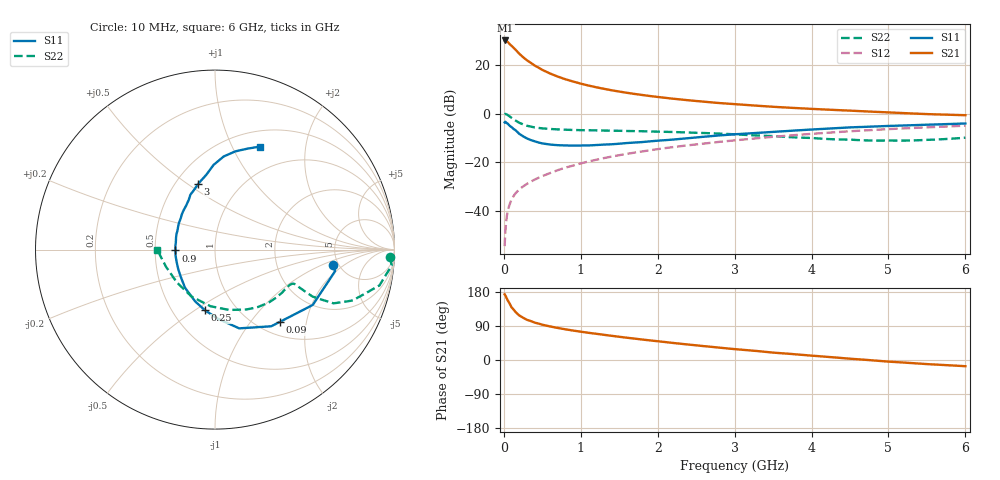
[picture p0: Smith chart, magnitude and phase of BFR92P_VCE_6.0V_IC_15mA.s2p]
! Infineon Technologies  Discrete & RF Semiconductors
! BFR92P
! VCE =  6.0 V,  IC =  15 mA
! Common Emitter S-Parameters:  Apr 2014
# GHz  S  MA  R  50
!  f  S11  S21  S12  S22
! GHz  MAG  ANG  MAG  ANG  MAG  ANG  MAG  ANG
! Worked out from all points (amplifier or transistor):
!   77 points, 10 MHz to 6 GHz, reference 50 ohm
!   highest |S21| = 30.0 dB at 20 MHz (marker M1)
!   |S21| within 3 dB of that: start of sweep to 126 MHz
!   unconditionally stable (mu >= 1): 590.7 MHz to 2.31 GHz
!   at 130 MHz: K = 0.47, MSG = 30.3 dB, |S12| = -33.7 dB
!   at 2.2 GHz: K = 1.01, MAG = 9.5 dB, |S12| = -13.7 dB
!   at 6 GHz: K = 0.86, MSG = 2.1 dB, |S12| = -4.9 dB
!   S11 on the Smith chart (normalised r, x): 10 MHz: 4.47, -1.33; 90 MHz: 1.24, -1.41; 250 MHz: 0.72, -0.55; 900 MHz: 0.64, -0.01; 3 GHz: 0.64, +0.55; 6 GHz: 0.68, +1.29
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0.01  0.66 -7.3  31.38 173.3  0.0019 88.1  0.9736 -2.5
0.02  0.6797 -10.2  31.76 170.2  0.0039 83.1  0.989 -5.1
0.05  0.6259 -29.5  29.75 157.4  0.01 77.0  0.9377 -12.3
0.09  0.5405 -48.3  25.49 143.2  0.0158 69.1  0.8416 -18.4
0.1  0.5299 -53.7  24.72 139.0  0.0173 68.0  0.8193 -20.2
0.15  0.4592 -72.9  20.66 127.0  0.0229 67.1  0.7248 -24.4
0.2  0.3849 -87.7  17.03 117.6  0.0279 65.7  0.6488 -25.2
0.25  0.3427 -99.4  14.42 111.6  0.0319 64.8  0.6023 -25.7
0.3  0.3094 -110.8  12.44 106.0  0.0361 65.5  0.5635 -25.1
0.4  0.2704 -128.2  9.717 98.7  0.0441 67.7  0.5204 -24.3
0.5  0.2442 -141.1  7.909 93.1  0.0522 69.1  0.4979 -23.7
0.6  0.2319 -152.1  6.668 88.6  0.0601 69.5  0.4839 -23.4
0.7  0.2248 -161.9  5.766 84.6  0.0689 70.2  0.4745 -23.5
0.9  0.2203 -178.7  4.56 77.7  0.0857 70.6  0.4616 -25.1
1.1  0.2219 169.4  3.77 71.8  0.1041 70.0  0.4556 -27.2
1.5  0.2411 148.7  2.836 61.3  0.1401 68.1  0.4442 -32.8
2.1  0.2854 126.3  2.108 47.3  0.196 63.5  0.4228 -43.0
3  0.3764 104.7  1.566 28.7  0.2823 55.0  0.3765 -62.4
3.1  0.3847 102.9  1.526 27.0  0.2923 53.7  0.3686 -65.1
4.1  0.4812 89.6  1.23 10.0  0.3941 42.3  0.3082 -98.7
5.1  0.5644 77.1  1.042 -5.5  0.4887 28.9  0.279 -143.6
6  0.6271 66.3  0.928 -16.4  0.5657 16.5  0.3207 -179.4
